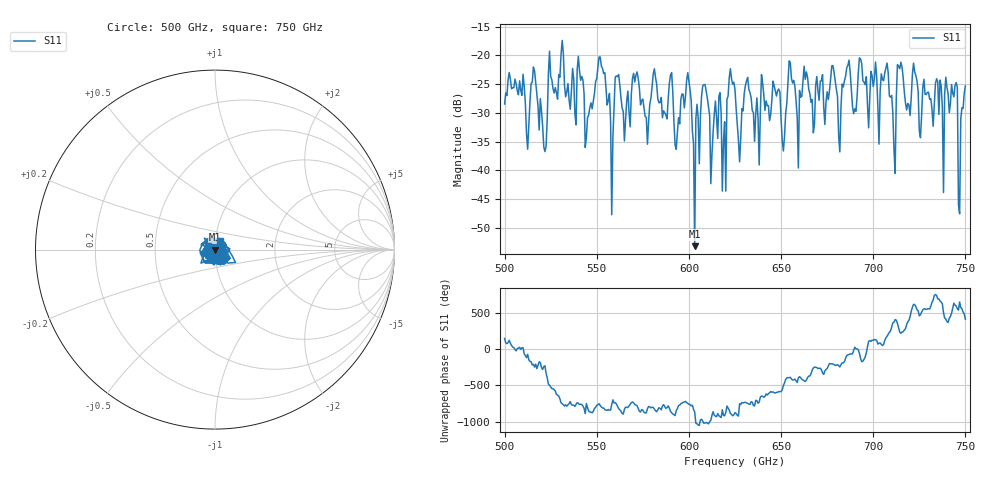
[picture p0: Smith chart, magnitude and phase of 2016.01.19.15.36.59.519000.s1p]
!Created with skrf (http://scikit-rf.org).
# GHz S RI R 50.0
!freq ReS11 ImS11
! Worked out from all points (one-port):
!   401 points, 500 GHz to 750 GHz, reference 50 ohm
!   lowest |S11| = -53.2 dB at 603.1 GHz (marker M1), VSWR 1.00, Z = 49.8 - j0.119 ohm
!   |S11| at or under -10 dB: start of sweep to end of sweep
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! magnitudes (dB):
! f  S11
! 500 GHz  -28.5
! 512.5 GHz  -36.3
! 515.6 GHz  -22.0
! 521.9 GHz  -36.7
! 525 GHz  -23.7
! 531.2 GHz  -17.4
! 545 GHz  -30.8
! 551.9 GHz  -20.3
! 557.5 GHz  -31.4
! 562.5 GHz  -25.1
! 590 GHz  -23.5
! 593.8 GHz  -33.3
! 600 GHz  -24.5
! 603.1 GHz  -53.2
! 608.1 GHz  -25.1
! 618.8 GHz  -34.9
! 621.9 GHz  -23.9
! 625 GHz  -26.0
! 651.2 GHz  -36.6
! 656.2 GHz  -24.8
! 678.1 GHz  -21.8
! 681.2 GHz  -34.1
! 687.5 GHz  -23.0
! 714.4 GHz  -22.3
! 718.8 GHz  -28.4
! 744.4 GHz  -25.3
! 747.5 GHz  -31.0
! 750 GHz  -25.3
